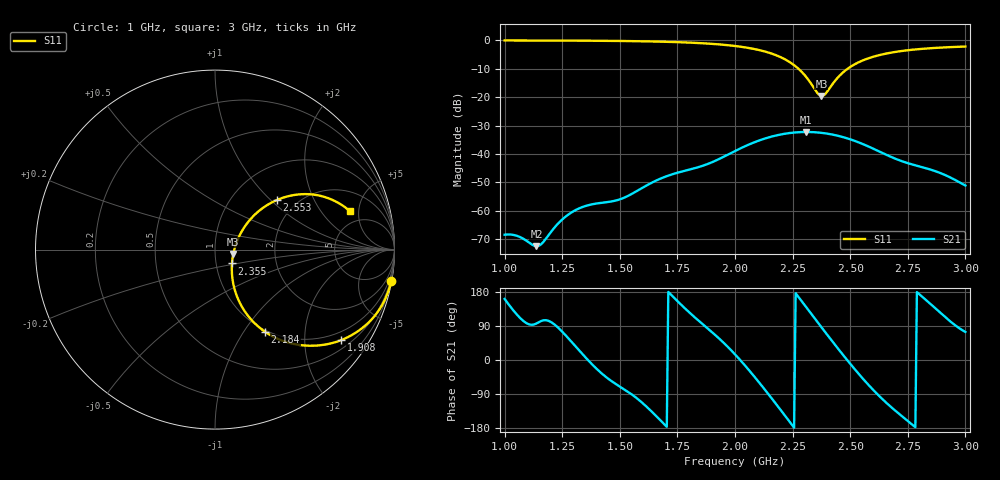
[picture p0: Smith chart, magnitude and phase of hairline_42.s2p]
! TOUCHSTONE file generated by CST MICROWAVE STUDIO
! Date and time: Tue Mar 18 20:31:54 2025
! Project name: hairline.cst
! Parameters = {B=12.5; D=160; F=15; Feed=2.85625; Fracture=2; L=100; M=50; R=0.384908; S=1.5; Theta=270; length=57.125; wave=114.25}
! Header version: 2024
! Port assignment regex: !\s*Touchstone port\s*([0-9]+)\s*=\s*(CST MWS port|CST DES external port|CST DES block port)\s*(.+)\s* \(\"(.*)\"\)(\s*mode\s*([0-9]+))?.*
! Touchstone port assignment:
! Touchstone port 1 = CST MWS port 1 ("")
! Touchstone port 2 = CST MWS port 2 ("")
# GHz S DB R 50
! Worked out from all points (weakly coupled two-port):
!   305 points, 1 GHz to 3 GHz, reference 50 ohm
!   highest |S21| = -32.25 dB at 2.309 GHz (marker M1); lowest = -72.5 dB at 1.138 GHz (marker M2)
!   lowest |S11| = -19.6 dB at 2.375 GHz (marker M3), VSWR 1.23, Z = 61.2 - j3.09 ohm
!   |S11| at or under -10 dB: 2.276 GHz to 2.488 GHz (212.9 MHz wide, 8.94 % of centre)
!   S12 and S22 are empty: the file has one direction only
!   S11 on the Smith chart (normalised r, x): 1 GHz: 0, -11; 1.908 GHz: 0.73, -2.94; 2.184 GHz: 0.98, -1.26; 2.355 GHz: 1.19, -0.19; 2.553 GHz: 1.59, +1.09; 3 GHz: 3.60, +3.95
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1  -0.02 -10.0  -68.42 161.1  -200.00 0.0  -200.00 0.0
1.05921  -0.03 -10.8  -68.97 115.9  -200.00 0.0  -200.00 0.0
1.13816  -0.04 -12.0  -72.45 96.4  -200.00 0.0  -200.00 0.0
1.16447  -0.04 -12.4  -71.29 104.1  -200.00 0.0  -200.00 0.0
1.25658  -0.07 -14.0  -62.59 70.5  -200.00 0.0  -200.00 0.0
1.33553  -0.10 -15.5  -58.74 17.2  -200.00 0.0  -200.00 0.0
1.50658  -0.20 -19.5  -55.78 -72.5  -200.00 0.0  -200.00 0.0
1.67105  -0.43 -24.6  -48.86 -155.9  -200.00 0.0  -200.00 0.0
1.90789  -1.26 -35.7  -42.63 69.4  -200.00 0.0  -200.00 0.0
2  -1.97 -41.9  -38.96 14.9  -200.00 0.0  -200.00 0.0
2.18421  -5.41 -58.6  -33.37 -120.8  -200.00 0.0  -200.00 0.0
2.25658  -8.73 -64.6  -32.45 -178.5  -200.00 0.0  -200.00 0.0
2.30921  -12.89 -62.6  -32.25 139.2  -200.00 0.0  -200.00 0.0
2.33553  -15.86 -54.2  -32.29 118.1  -200.00 0.0  -200.00 0.0
2.35526  -18.26 -39.2  -32.39 102.3  -200.00 0.0  -200.00 0.0
2.375  -19.60 -13.8  -32.55 86.6  -200.00 0.0  -200.00 0.0
2.39474  -18.59 12.3  -32.76 70.9  -200.00 0.0  -200.00 0.0
2.47368  -10.93 41.2  -34.16 9.8  -200.00 0.0  -200.00 0.0
2.55263  -7.12 38.7  -36.42 -47.6  -200.00 0.0  -200.00 0.0
2.67105  -4.40 30.9  -40.80 -120.7  -200.00 0.0  -200.00 0.0
2.88816  -2.55 19.8  -46.60 126.1  -200.00 0.0  -200.00 0.0
3  -2.16 16.0  -51.09 73.9  -200.00 0.0  -200.00 0.0
